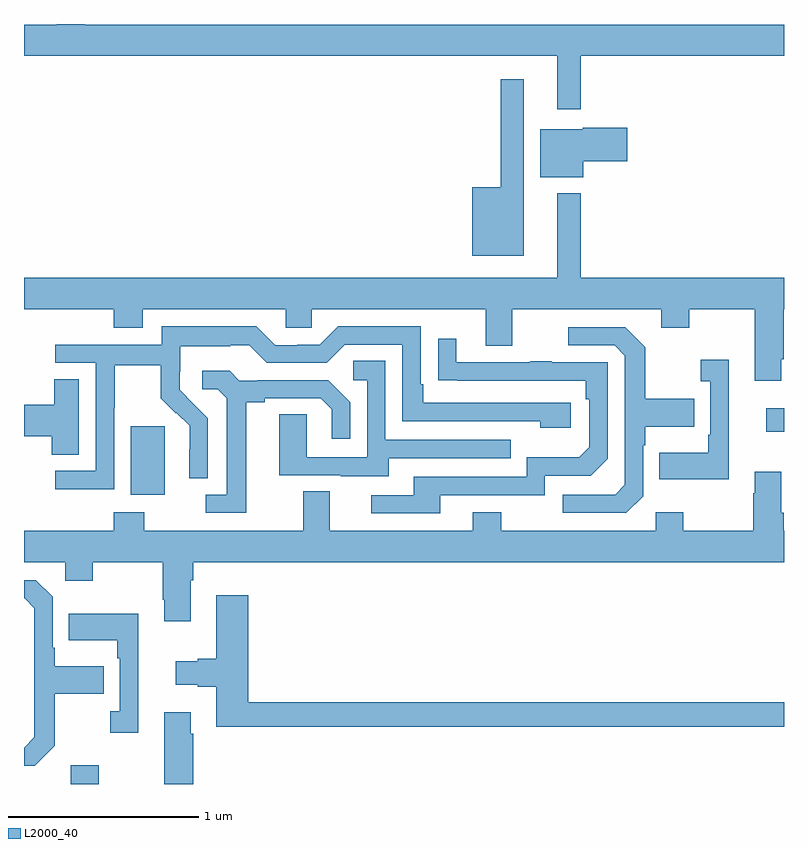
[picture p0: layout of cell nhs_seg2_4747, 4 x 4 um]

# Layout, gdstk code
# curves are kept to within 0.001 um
import gdstk
lib = gdstk.Library(unit=1e-6, precision=1e-09)
def R(c, l, rs):  # rectangles x0, y0, x1, y1
    for r in rs: c.add(gdstk.rectangle(r[:2], r[2:], *l))
def P(c, l, *ps):  # polygons
    for p in ps: c.add(gdstk.Polygon(p, *l))
L2000_40 = (2000, 40)

nhs_seg2_4747 = lib.new_cell('nhs_seg2_4747')
R(nhs_seg2_4747, L2000_40, [(369.245,647.8,369.393,647.899), (369.563,649.322,369.742,649.683), (372.906,649.655,373,649.777)])
P(nhs_seg2_4747, L2000_40, [(371.929,651.632),(373,651.632),(373,651.796),(369.321,651.796),(369.321,651.8),(369.173,651.8),(369.173,651.796),(369,651.796),(369,651.632),(371.807,651.632),(371.807,651.351),(371.929,651.351)],
  [(371.629,651.508),(371.508,651.508),(371.508,650.941),(371.36,650.941),(371.36,650.579),(371.629,650.579)],
  [(371.944,651.077),(372.175,651.077),(372.175,651.255),(371.94,651.255),(371.94,651.247),(371.717,651.247),(371.717,650.993),(371.944,650.993)],
  [(372.985,650.035),(372.998,650.035),(372.998,650.3),(373,650.3),(373,650.464),(371.929,650.464),(371.929,650.908),(371.807,650.908),(371.807,650.464),(369,650.464),(369,650.3),(369.473,650.3),(369.473,650.201),(369.625,650.201),(369.625,650.3),(370.377,650.3),(370.377,650.202),(370.515,650.202),(370.515,650.3),(371.429,650.3),(371.429,650.106),(371.569,650.106),(371.569,650.3),(372.353,650.3),(372.353,650.201),(372.501,650.201),(372.501,650.3),(372.845,650.3),(372.845,649.923),(372.985,649.923)],
  [(369.474,649.78),(369.477,649.78),(369.477,650.004),(369.721,650.004),(369.721,649.829),(369.798,649.752),(369.801,649.755),(369.872,649.685),(369.872,649.562),(369.87,649.562),(369.87,649.408),(369.966,649.408),(369.966,649.726),(369.82,649.874),(369.82,649.971),(369.822,649.971),(369.822,650.105),(370.085,650.105),(370.085,650.109),(370.185,650.109),(370.278,650.016),(370.593,650.016),(370.689,650.112),(370.992,650.112),(370.992,649.71),(371.717,649.71),(371.717,649.676),(371.878,649.676),(371.878,649.806),(371.101,649.806),(371.101,649.903),(371.088,649.903),(371.088,650.208),(370.653,650.208),(370.557,650.112),(370.439,650.112),(370.439,650.109),(370.323,650.109),(370.223,650.209),(369.726,650.209),(369.726,650.112),(369.165,650.112),(369.165,650.016),(369.378,650.016),(369.378,649.449),(369.165,649.449),(369.165,649.351),(369.474,649.351)],
  [(372.258,649.314),(372.258,649.583),(372.271,649.583),(372.271,649.679),(372.527,649.679),(372.527,649.827),(372.271,649.827),(372.271,650.099),(372.165,650.205),(371.865,650.205),(371.865,650.109),(372.108,650.109),(372.162,650.055),(372.162,649.374),(372.111,649.323),(371.835,649.323),(371.835,649.227),(372.171,649.227)],
  [(371.191,649.32),(371.742,649.32),(371.742,649.422),(371.982,649.422),(372.072,649.512),(372.072,650.019),(371.777,650.019),(371.777,650.024),(371.665,650.024),(371.665,650.019),(371.275,650.019),(371.275,650.143),(371.179,650.143),(371.179,649.924),(371.956,649.923),(371.956,649.826),(371.976,649.826),(371.976,649.572),(371.923,649.519),(371.646,649.519),(371.646,649.416),(371.051,649.416),(371.051,649.32),(370.827,649.32),(370.827,649.224),(371.191,649.224)],
  [(372.71,650.032),(372.561,650.032),(372.561,649.919),(372.612,649.919),(372.612,649.639),(372.6,649.639),(372.6,649.543),(372.343,649.543),(372.343,649.403),(372.71,649.403)],
  [(370.921,649.515),(371.561,649.515),(371.561,649.611),(370.902,649.611),(370.902,650.027),(370.734,650.027),(370.734,649.926),(370.806,649.926),(370.806,649.521),(370.488,649.521),(370.488,649.745),(370.343,649.745),(370.343,649.425),(370.667,649.425),(370.667,649.421),(370.921,649.421)],
  [(370.171,649.808),(370.267,649.808),(370.267,649.83),(370.562,649.83),(370.619,649.773),(370.619,649.617),(370.716,649.617),(370.716,649.81),(370.6,649.926),(370.228,649.926),(370.228,649.923),(370.134,649.923),(370.082,649.975),(369.939,649.975),(369.939,649.878),(370.02,649.878),(370.067,649.831),(370.067,649.323),(369.957,649.323),(369.957,649.227),(370.171,649.227)],
  [(369.289,649.931),(369.158,649.931),(369.158,649.795),(369,649.795),(369,649.63),(369.146,649.63),(369.146,649.534),(369.289,649.534)],
  [(373,649.132),(372.998,649.132),(372.998,649.228),(372.985,649.228),(372.985,649.444),(372.845,649.444),(372.845,649.331),(372.838,649.331),(372.838,649.132),(372.471,649.132),(372.471,649.231),(372.324,649.231),(372.324,649.132),(371.511,649.132),(371.511,649.231),(371.363,649.231),(371.363,649.132),(370.609,649.132),(370.609,649.34),(370.469,649.34),(370.469,649.132),(369.633,649.132),(369.633,649.231),(369.473,649.231),(369.473,649.132),(369,649.132),(369,648.968),(369.216,648.968),(369.216,648.869),(369.363,648.869),(369.363,648.968),(369.73,648.968),(369.73,648.769),(369.737,648.769),(369.737,648.657),(369.877,648.657),(369.877,648.872),(369.89,648.872),(369.89,648.968),(373,648.968)],
  [(369.163,648.001),(369.163,648.274),(369.419,648.274),(369.419,648.421),(369.163,648.421),(369.163,648.517),(369.15,648.517),(369.15,648.786),(369.063,648.873),(369,648.873),(369,648.777),(369.003,648.777),(369.054,648.726),(369.054,648.045),(369,647.991),(369,647.895),(369.057,647.895)],
  [(373,648.23),(370.181,648.23),(370.181,648.793),(370.013,648.793),(370.013,648.458),(369.914,648.458),(369.914,648.445),(369.798,648.445),(369.798,648.323),(369.914,648.323),(369.914,648.311),(370.013,648.311),(370.013,648.102),(373,648.102)],
  [(369.602,648.697),(369.235,648.697),(369.235,648.557),(369.492,648.557),(369.492,648.461),(369.504,648.461),(369.504,648.182),(369.453,648.182),(369.453,648.069),(369.602,648.069)],
  [(369.89,648.065),(369.877,648.065),(369.877,648.178),(369.737,648.178),(369.737,647.8),(369.89,647.8)])

lib.write_gds('nhs_seg2_4747.gds')
